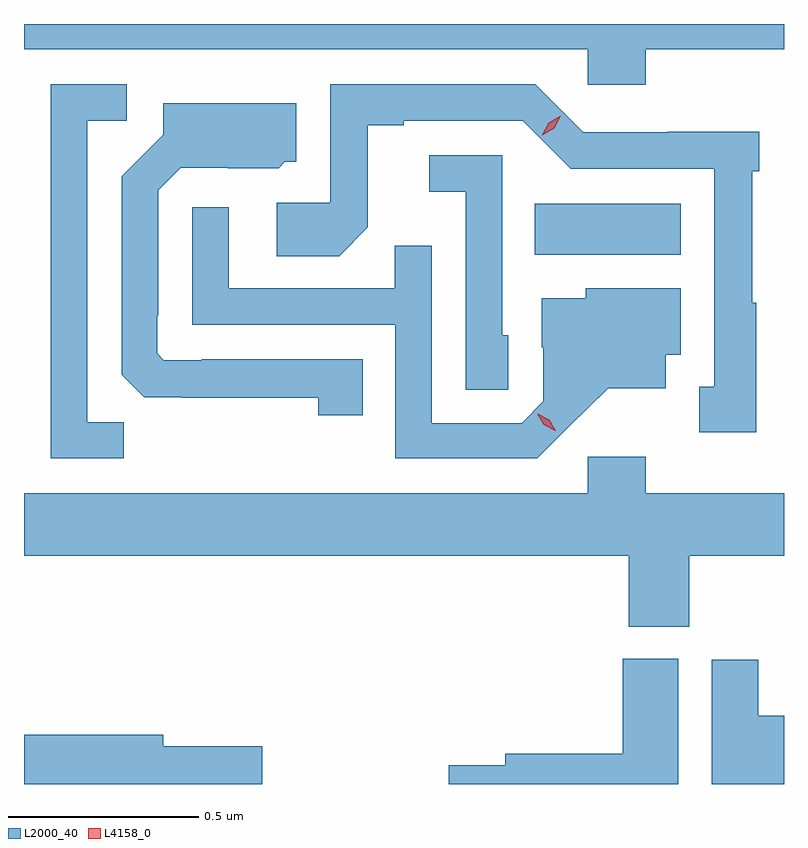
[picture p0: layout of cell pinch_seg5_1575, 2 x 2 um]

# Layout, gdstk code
import gdstk
lib = gdstk.Library(unit=1e-6, precision=1e-09)
def R(c, l, rs):  # rectangles x0, y0, x1, y1
    for r in rs: c.add(gdstk.rectangle(r[:2], r[2:], *l))
def P(c, l, *ps):  # polygons
    for p in ps: c.add(gdstk.Polygon(p, *l))
L2000_40 = (2000, 40)
L4158_0 = (4158, 0)

pinch_seg5_1575 = lib.new_cell('pinch_seg5_1575')
R(pinch_seg5_1575, L2000_40, [(305.644,864.212,306.028,864.346)])
P(pinch_seg5_1575, L2000_40, [(305.936,864.752),(306.3,864.752),(306.3,864.819),(304.3,864.819),(304.3,864.752),(305.784,864.752),(305.784,864.659),(305.936,864.659)],
  [(306.227,864.086),(306.217,864.086),(306.217,864.431),(306.235,864.431),(306.235,864.536),(305.994,864.536),(305.994,864.534),(305.772,864.534),(305.646,864.66),(305.106,864.66),(305.106,864.348),(304.965,864.348),(304.965,864.208),(305.129,864.208),(305.205,864.284),(305.205,864.552),(305.299,864.552),(305.299,864.564),(305.613,864.564),(305.739,864.438),(306.116,864.438),(306.116,863.865),(306.077,863.865),(306.077,863.745),(306.227,863.745)],
  [(304.563,863.771),(304.467,863.771),(304.467,864.564),(304.57,864.564),(304.57,864.66),(304.371,864.66),(304.371,863.676),(304.563,863.676)],
  [(305.192,863.937),(304.768,863.937),(304.768,863.934),(304.668,863.934),(304.65,863.952),(304.65,864.052),(304.653,864.052),(304.653,864.381),(304.713,864.441),(304.836,864.441),(304.836,864.44),(304.97,864.44),(304.986,864.456),(305.017,864.456),(305.017,864.61),(304.667,864.61),(304.667,864.528),(304.557,864.418),(304.557,863.896),(304.616,863.837),(304.717,863.837),(304.717,863.836),(305.074,863.836),(305.074,863.79),(305.192,863.79)],
  [(305.574,864),(305.559,864),(305.559,864.474),(305.367,864.474),(305.367,864.377),(305.463,864.377),(305.463,863.857),(305.574,863.857)],
  [(305.734,863.759),(305.837,863.861),(305.989,863.861),(305.989,863.948),(306.028,863.948),(306.028,864.124),(305.778,864.124),(305.778,864.097),(305.663,864.097),(305.663,863.968),(305.667,863.968),(305.667,863.826),(305.61,863.769),(305.373,863.769),(305.373,864.236),(305.275,864.236),(305.275,864.123),(304.839,864.123),(304.839,864.337),(304.743,864.337),(304.743,864.027),(305.277,864.027),(305.277,863.676),(305.65,863.676)],
  [(306.051,863.42),(306.3,863.42),(306.3,863.584),(305.936,863.584),(305.936,863.68),(305.784,863.68),(305.784,863.584),(304.3,863.584),(304.3,863.42),(305.891,863.42),(305.891,863.233),(306.051,863.233)],
  [(306.022,863.148),(305.876,863.148),(305.876,862.898),(305.567,862.898),(305.567,862.868),(305.418,862.868),(305.418,862.819),(306.022,862.819)],
  [(306.3,862.999),(306.232,862.999),(306.232,863.146),(306.11,863.146),(306.11,862.819),(306.3,862.819)],
  [(304.927,862.919),(304.666,862.919),(304.666,862.948),(304.3,862.948),(304.3,862.819),(304.927,862.819)])
P(pinch_seg5_1575, L4158_0, [(305.664,864.526),(305.664,864.527),(305.681,864.559),(305.713,864.578),(305.713,864.578),(305.713,864.578),(305.696,864.545),(305.664,864.526)],
  [(305.698,863.748),(305.668,863.764),(305.651,863.793),(305.651,863.794),(305.652,863.794),(305.682,863.778),(305.699,863.749),(305.699,863.748)])

lib.write_gds('pinch_seg5_1575.gds')
